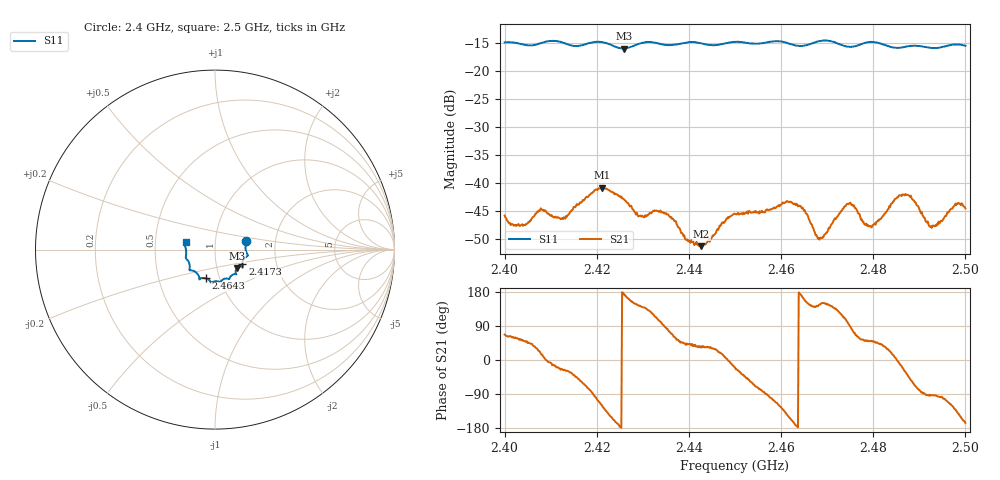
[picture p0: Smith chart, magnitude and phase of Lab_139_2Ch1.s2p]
# Hz S RI R 50
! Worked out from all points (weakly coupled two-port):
!   601 points, 2.4 GHz to 2.5 GHz, reference 50 ohm
!   highest |S21| = -40.79 dB at 2.4212 GHz (marker M1); lowest = -51.2 dB at 2.4427 GHz (marker M2)
!   lowest |S11| = -15.9 dB at 2.4258 GHz (marker M3), VSWR 1.38, Z = 62.2 - j13.3 ohm
!   |S11| at or under -10 dB: start of sweep to end of sweep
!   S12 and S22 are empty: the file has one direction only
!   S11 on the Smith chart (normalised r, x): 2.4 GHz: 1.41, +0.14; 2.4173 GHz: 1.34, -0.23; 2.4643 GHz: 0.86, -0.28; 2.5 GHz: 0.72, +0.06
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2.4e9  0.1738 0.0491  0.00201 0.00475  0 0  0 0
2.403e9  0.174 0.0344  0.00248 0.00356  0 0  0 0
2.407833e9  0.1769 -0.0197  0.0057 0.0018  0 0  0 0
2.412667e9  0.1759 -0.0388  0.00429 -0.00213  0 0  0 0
2.416667e9  0.1527 -0.0747  0.00368 -0.00565  0 0  0 0
2.417333e9  0.1523 -0.0821  0.003 -0.0065  0 0  0 0
2.421167e9  0.1543 -0.0964  -0.0046 -0.00789  0 0  0 0
2.425833e9  0.121 -0.1039  -0.00721 0.000585  0 0  0 0
2.429333e9  0.1162 -0.1333  -0.00411 0.00306  0 0  0 0
2.433333e9  0.1129 -0.1365  -0.00159 0.00543  0 0  0 0
2.442667e9  0.0714 -0.1623  0.00231 0.00149  0 0  0 0
2.45e9  0.0293 -0.1806  0.00503 -0.00179  0 0  0 0
2.464333e9  -0.0503 -0.1602  -0.00611 0.000902  0 0  0 0
2.466667e9  -0.0763 -0.1594  -0.0034 0.00263  0 0  0 0
2.4685e9  -0.0865 -0.1653  -0.00274 0.0018  0 0  0 0
2.4745e9  -0.1017 -0.1306  -0.000881 0.00649  0 0  0 0
2.479167e9  -0.1412 -0.1155  0.00267 0.00313  0 0  0 0
2.483333e9  -0.1407 -0.0897  0.0053 0.0026  0 0  0 0
2.487667e9  -0.1589 -0.0526  0.00559 -0.00547  0 0  0 0
2.492833e9  -0.1604 -0.0157  -0.000232 -0.00418  0 0  0 0
2.498e9  -0.1707 0.0313  -0.00441 -0.00461  0 0  0 0
2.5e9  -0.1636 0.0415  -0.00579 -0.00145  0 0  0 0
